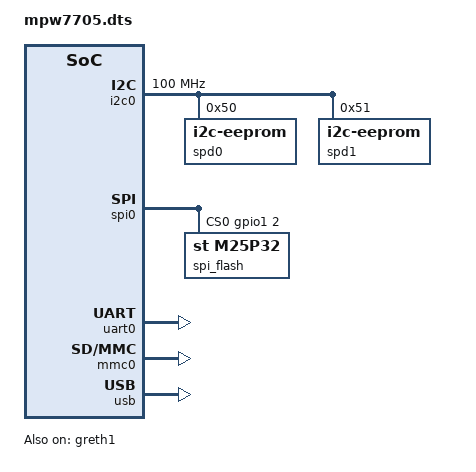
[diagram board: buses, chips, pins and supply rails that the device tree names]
#include <dt-bindings/gpio/gpio.h>
#include "mpw7705-pinfunc.h"

/dts-v1/;
/ {
	compatible = "rc-module,mpw7705";
	#address-cells = <1>;
	#size-cells = <1>;

    config {
           u-boot,spl-payload-offset = <0x40000>; 
    };

	chosen {
		stdout-path = "uart0";
		spd0-path = "spd0";
		spd1-path = "spd1";
	};

	aliases {
		spi0 = &spi0;
		mmc0 = &mmc0;
		uart0 = &uart0;
		spd0 = &spd0;
		spd1 = &spd1;
	}; 

	lsif0 {
	    u-boot,dm-pre-reloc;
	    compatible = "simple-bus";
		reg = <0x3C03F000 0x1000>;
		reg-names = "ctrlreg";

		#address-cells = <1>;
		#size-cells = <1>;


		mgpio0: mgpio0@0x3C040000 {
		    compatible = "rc-module,pl061";
		    #address-cells = <1>;
		    #size-cells = <0>;
		    reg = <0x3C040000 0x1000>;
			pinctrl {
					compatible = "rc-module,pl061-pinctrl";
					
					pinctrl_greth0_1_default: greth0_1_default {
						pinmux = 	<GBETH0_RX_DV>,
									<GBETH0_RX_ER>,
									<GBETH0_RX_COL>,
									<GBETH0_RX_CRS>,
									<GBETH0_RXD0>,
									<GBETH0_RXD1>,
									<GBETH0_RXD2>,
									<GBETH0_RXD3>;
					};
			};
		};

		mgpio1: mgpio1@0x3C050000 {
		    compatible = "rc-module,pl061";
		    #address-cells = <1>;
		    #size-cells = <0>;
		    reg = <0x3C050000 0x1000>;
			pinctrl {
					compatible = "rc-module,pl061-pinctrl";
					
					pinctrl_greth0_2_default: greth0_2_default {
						pinmux = 	<GBETH0_RXD4>,
									<GBETH0_RXD5>,
									<GBETH0_RXD6>,
									<GBETH0_RXD7>;
					};
			};
		};

		mgpio4: mgpio4@0x3C080000 {
		    compatible = "rc-module,pl061";
		    #address-cells = <1>;
		    #size-cells = <0>;
		    reg = <0x3C080000 0x1000>;
			pinctrl {
					compatible = "rc-module,pl061-pinctrl";
					
					pinctrl_greth0_3_default: greth0_3_default {
						pinmux = 	<GBETH0_TX_EN>,
									<GBETH0_TX_ER>,
									<GBETH0_TXD0>,
									<GBETH0_TXD1>;
					};
			};
		};

		mgpio5: mgpio5@0x3C090000 {
		    compatible = "rc-module,pl061";
		    #address-cells = <1>;
		    #size-cells = <0>;
		    reg = <0x3C090000 0x1000>;
			pinctrl {
					compatible = "rc-module,pl061-pinctrl";
					
					pinctrl_greth0_4_default: greth0_4_default {
						pinmux = 	<GBETH0_TXD2>,
									<GBETH0_TXD3>,
									<GBETH0_TXD4>,
									<GBETH0_TXD5>,
									<GBETH0_TXD6>,
									<GBETH0_TXD7>,
									<GBETH0_MDC>,
									<GBETH0_MDIO>;
					};
			};
		};

		greth1: greth0@0x3C034000 {
			compatible = "rc-module,greth";
            reg = <0x3C034000 0x1000>;			
			mac-address = [ EC 17 66 77 05 00 ];
			//pinctrl-names = "default";
			//pinctrl-0 = <&pinctrl_greth0_1_default>, <&pinctrl_greth0_2_default>, <&pinctrl_greth0_3_default>, <&pinctrl_greth0_4_default>;
			status = "okay";
		};

	};

	lsif1 {
	    u-boot,dm-pre-reloc;
	    compatible = "simple-bus";
		reg = <0x3C060000 0x1000>;
		reg-names = "ctrlreg";
		#address-cells = <1>;
		#size-cells = <1>;

		mgpio2_1: mgpio2_1@0x3C069000 {
		    compatible = "rc-module,pl061";
			u-boot,dm-pre-reloc;
		    #address-cells = <1>;
		    #size-cells = <0>;
		    reg = <0x3C069000 0x1000>;

			pinctrl {
					compatible = "rc-module,pl061-pinctrl";
					pinctrl_uart0_default: uart0_default {
						u-boot,dm-pre-reloc;
						pinmux = 	<UART0_RXD>,
									<UART0_TXD>;
					};					
			};					
		};

		mgpio3_1: mgpio3_1@0x3C06A3000 {
		    compatible = "rc-module,pl061";
		    #address-cells = <1>;
		    #size-cells = <0>;
		    reg = <0x3C06A000 0x1000>;
		    u-boot,dm-pre-reloc;
		
			pinctrl {
				    u-boot,dm-pre-reloc;
					compatible = "rc-module,pl061-pinctrl";

					pinctrl_spi0_default: spi0_default {
						u-boot,dm-pre-reloc;
						pinmux = 	<SPI0_SCLK>,
									<SPI0_MOSI>,
									<SPI0_MISO>;
					};					

					pinctrl_uart1_default: uart1_default {
						pinmux = 	<UART1_RXD>,
									<UART1_TXD>;
					};

					pinctrl_uart2_default: uart2_default {
						pinmux = 	<UART2_RXD>,
									<UART2_TXD>;
					};										
								
			};

		};
		mgpio4_1: mgpio4_1@0x3C06B000 {
		    compatible = "rc-module,pl061";
		    #address-cells = <1>;
		    #size-cells = <0>;
		    reg = <0x3C06B000 0x1000>;
			u-boot,dm-pre-reloc;
		
			pinctrl {
					compatible = "rc-module,pl061-pinctrl";
					u-boot,dm-pre-reloc;
					pinctrl_spi1_default: spi1_default {
						u-boot,dm-pre-reloc;

						pinmux = 	<SPI1_SCLK>,
									<SPI1_MOSI>,
									<SPI1_MISO>;
					};		

					pinctrl_sdio_default: sdio_default {
						u-boot,dm-pre-reloc;
						pinmux = 	<SDIO_CMD>,
									<SDIO_D0>,
									<SDIO_D1>,
									<SDIO_D2>,
									<SDIO_D3>;
					};					
					
			};

		};

		i2c0: i2c@0x3C05A000 {
			compatible = "rc-module,i2cmst";
		    #address-cells = <1>;
		    #size-cells = <0>;
			reg = <0x3C05A000 0x1000>;
			reg-shift = <2>;
			reg-io-width = <4>;
			clock-frequency = <100000000>;
			bus-clock = <100000>;
			u-boot,dm-pre-reloc;

			spd0: spd@50 {
				compatible = "i2c-eeprom";
				reg = <0x50>;
				u-boot,dm-pre-reloc;
			};
			spd1: spd@51 {
				compatible = "i2c-eeprom";
				reg = <0x51>;
				u-boot,dm-pre-reloc;
			};
		};

		gpio0: gpio0@0x3C065000 	{
		    compatible = "rc-module,pl061";
		    #address-cells = <1>;
		    #size-cells = <0>;
		    reg = <0x3C065000 0x1000>;

			u-boot,dm-pre-reloc;
		};

		gpio1: gpio1@0x3C066000 	{
		    compatible = "rc-module,pl061";
		    #address-cells = <1>;
		    #size-cells = <0>;
		    reg = <0x3C066000 0x1000>;
			#gpio-cells = <2>;
			gpio-controller;

			u-boot,dm-pre-reloc;
		};

	    spi0: spi0@0x3C061000 {
		    compatible = "rc-module,pl022-spi";
			pinctrl-names = "default";
			pinctrl-0 = <&pinctrl_spi0_default>;
			
		    #address-cells = <1>;
		    #size-cells = <0>;
		    reg = <0x3C061000 0x1000>;
		    cs-gpios = <&gpio1 2 0>, <0>, <0>, <0>;
		    spi-max-frequency = <12500000>;			
		    u-boot,dm-pre-reloc;

		    spi_flash@0 {
			    compatible = "st,m25p32", "spi-flash";
			    reg = <0>;
			    u-boot,dm-pre-reloc;
								
		    };
	    };

		uart0: uart0@3C05D000 {  /* console */
                compatible = "arm,pl011", "arm,primecell";
                reg = <0x3C05D000 0x1000>;
                clock = <100000000>;
				pinctrl-names = "default";
				pinctrl-0 = <&pinctrl_uart0_default>;

 			    u-boot,dm-pre-reloc;
		};		

		uart1: uart1@3C05E000 { 
                compatible = "arm,pl011", "arm,primecell";
                reg = <0x3C05E000 0x1000>;
                clock = <100000000>;
				pinctrl-names = "default";
				pinctrl-0 = <&pinctrl_uart1_default>;
				status = "disabled";
		};		


		mmc0: mmc0@0x3C064000 {
			compatible = "rc-module,mmc-0.2";
			reg = <0x3C064000 0x1000>;
			carddetect-gpio = <&gpio1 1 0>;
			u-boot,dm-pre-reloc;
			status = "okay";
			pinctrl-names = "default";
			pinctrl-0 = <&pinctrl_sdio_default>;
		};


        usb: musb@0x3C06D000 {
                compatible = "rc-module,musb";
                reg = <0x3C06C000 0x1000>,
					  <0x3C06D000 0x1000>,
					  <0x38000008 0x4>;
                reg-names = "phy", "mc", "control";
        };

	    spi1: spi1@0x3C062000 {
		    compatible = "rc-module,pl022-spi";
			pinctrl-names = "default";
			pinctrl-0 = <&pinctrl_spi1_default>;
			
		    #address-cells = <1>;
		    #size-cells = <1>;
		    reg = <0x3C062000 0x1000>;
		    cs-gpios = <&gpio1 4 0>;
		    spi-max-frequency = <400000>;
			u-boot,dm-pre-reloc;
			status = "disabled";
	    };	
	};
};
